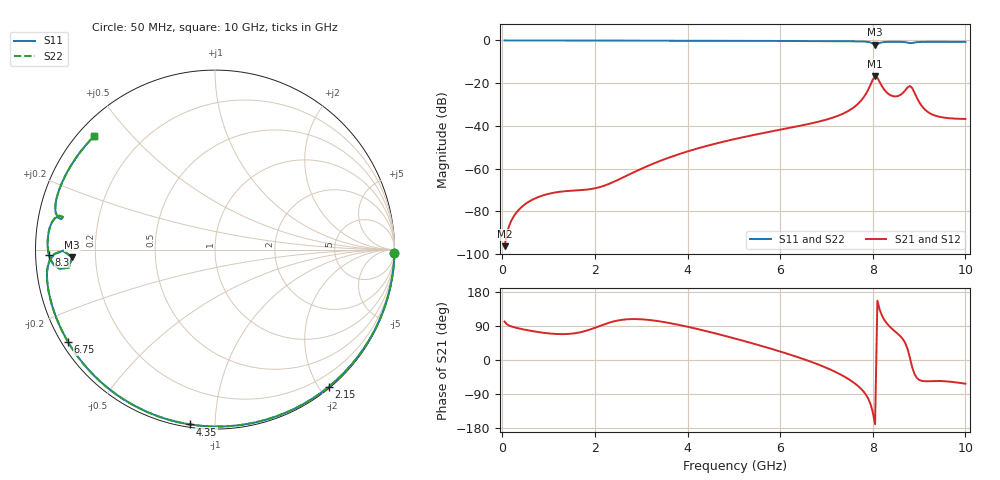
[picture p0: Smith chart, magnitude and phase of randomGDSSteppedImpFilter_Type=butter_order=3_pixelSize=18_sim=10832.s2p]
! freq	dB(S11)	phase(S11)	dB(S12)	phase(S12)
!  dB(S21)	phase(S21)	dB(S22)	phase(S22)
!S-par simulation data
#  GHz  S  DB  R 50
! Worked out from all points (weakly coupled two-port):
!   200 points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, 50 MHz to 10 GHz, reference 50 ohm
!   highest |S21| = -16.79 dB at 8.05 GHz (marker M1); lowest = -96.3 dB at 50 MHz (marker M2)
!   lowest |S11| = -2.0 dB at 8.05 GHz (marker M3), VSWR 8.87, Z = 5.64 - j1.33 ohm
!   |S11| at or under -10 dB: nowhere
!   |S22| runs from -2.0 to 0.0 dB; largest |S21 - S12| = 0
!   S11 on the Smith chart (normalised r, x): 50 MHz: 0, -95; 2.15 GHz: 0.02, -2.12; 4.35 GHz: 0.01, -0.87; 6.75 GHz: 0.02, -0.29; 8.3 GHz: 0.04, -0.01; 10 GHz: 0.05, +0.39
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0.05  -0.00 -1.2  -96.25 101.4  -96.25 101.4  -0.00 -1.2
0.3  -0.00 -7.2  -80.66 85.0  -80.66 85.0  -0.00 -7.2
0.6  -0.01 -14.4  -75.09 77.3  -75.09 77.3  -0.01 -14.4
0.95  -0.03 -22.7  -72.04 70.9  -72.04 70.9  -0.03 -22.7
1.75  -0.05 -41.3  -69.93 75.1  -69.93 75.1  -0.05 -41.3
2.15  -0.06 -50.4  -68.32 91.9  -68.32 91.9  -0.06 -50.4
3.4  -0.10 -78.0  -56.42 102.0  -56.42 102.0  -0.10 -78.1
4.35  -0.14 -98.1  -49.72 77.8  -49.72 77.8  -0.14 -98.2
5.05  -0.17 -112.6  -45.98 55.8  -45.98 55.8  -0.17 -112.6
6.7  -0.29 -146.7  -38.66 -6.2  -38.66 -6.2  -0.29 -146.8
6.75  -0.29 -147.8  -38.41 -8.5  -38.41 -8.5  -0.29 -147.8
7.6  -0.40 -167.1  -31.15 -60.7  -31.15 -60.7  -0.41 -167.2
7.8  -0.51 -172.8  -26.69 -83.1  -26.69 -83.1  -0.51 -172.9
8.05  -1.97 -176.9  -16.79 -169.5  -16.79 -169.5  -1.99 -177.0
8.15  -1.18 -173.0  -19.50 132.5  -19.50 132.5  -1.19 -173.0
8.3  -0.66 -178.3  -24.32 97.2  -24.32 97.2  -0.67 -178.4
8.35  -0.62 -180.0  -25.21 90.2  -25.21 90.2  -0.62 180.0
8.55  -0.62 173.8  -25.95 68.1  -25.95 68.1  -0.62 173.7
8.8  -1.23 167.9  -21.28 6.8  -21.28 6.8  -1.25 167.8
9.05  -0.68 164.0  -30.42 -54.8  -30.42 -54.8  -0.69 163.9
9.25  -0.63 158.1  -34.28 -55.7  -34.28 -55.7  -0.63 158.0
10  -0.69 136.9  -36.74 -62.6  -36.74 -62.6  -0.69 136.7
